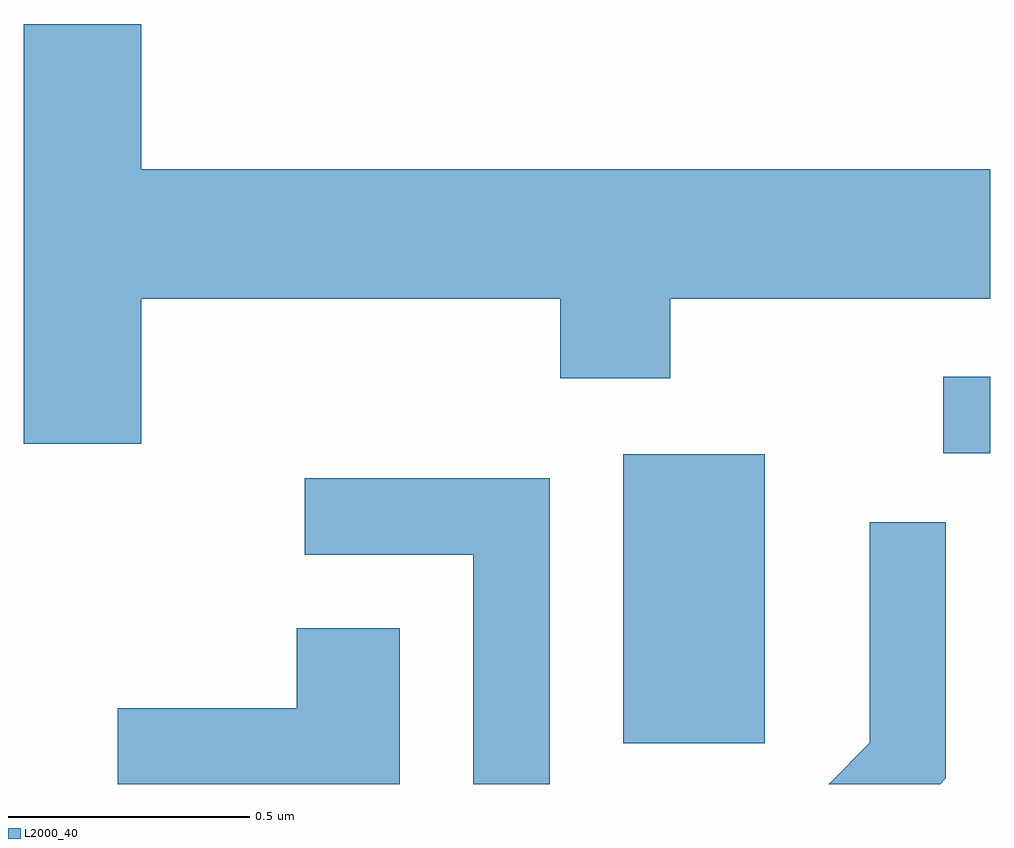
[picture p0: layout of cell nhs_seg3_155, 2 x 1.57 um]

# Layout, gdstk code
import gdstk
lib = gdstk.Library(unit=1e-6, precision=1e-09)
def R(c, l, rs):  # rectangles x0, y0, x1, y1
    for r in rs: c.add(gdstk.rectangle(r[:2], r[2:], *l))
def P(c, l, *ps):  # polygons
    for p in ps: c.add(gdstk.Polygon(p, *l))
L2000_40 = (2000, 40)

nhs_seg3_155 = lib.new_cell('nhs_seg3_155')
R(nhs_seg3_155, L2000_40, [(187.851,1133.976,188.144,1134.574), (188.513,1134.576,188.611,1134.734)])
P(nhs_seg3_155, L2000_40, [(186.854,1134.896),(187.721,1134.896),(187.721,1134.731),(187.949,1134.731),(187.949,1134.896),(188.611,1134.896),(188.611,1135.164),(186.854,1135.164),(186.854,1135.464),(186.611,1135.464),(186.611,1134.596),(186.854,1134.596)],
  [(187.699,1134.524),(187.193,1134.524),(187.193,1134.366),(187.541,1134.366),(187.541,1133.892),(187.699,1133.892)],
  [(188.519,1133.904),(188.519,1134.433),(188.361,1134.433),(188.361,1133.977),(188.276,1133.892),(188.507,1133.892)],
  [(187.389,1134.214),(187.176,1134.214),(187.176,1134.049),(186.806,1134.049),(186.806,1133.892),(187.389,1133.892)])

lib.write_gds('nhs_seg3_155.gds')
